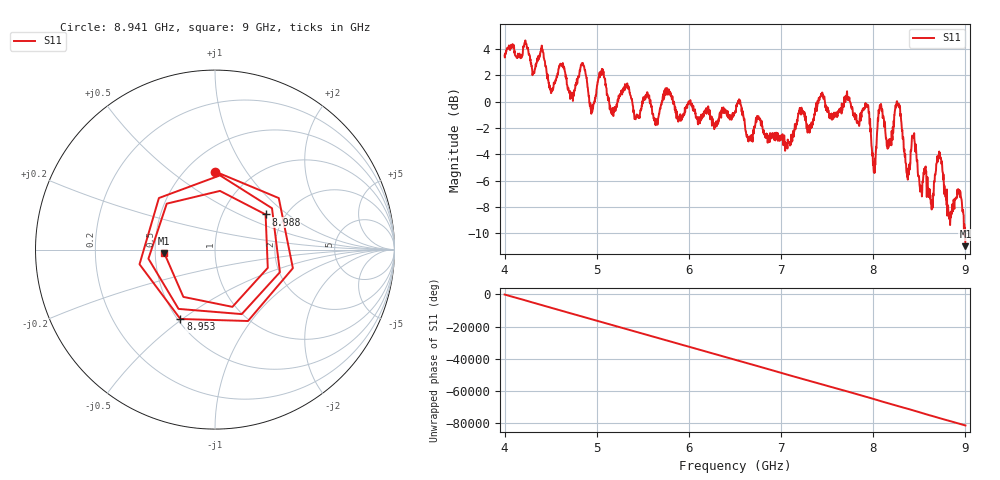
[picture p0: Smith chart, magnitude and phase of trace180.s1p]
! Created with skrf 1.8.0 (http://scikit-rf.org).
# Hz S RI R 50.0
!freq ReS11 ImS11
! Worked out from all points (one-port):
!   1601 points, 4 GHz to 9 GHz, reference 50 ohm
!   lowest |S11| = -11.0 dB at 9 GHz (marker M1), VSWR 1.79, Z = 28 - j1.25 ohm
!   |S11| at or under -10 dB: 8.990507 GHz to 8.991699 GHz (1.192 MHz wide, 0.0133 % of centre); 8.997068 GHz to end of sweep
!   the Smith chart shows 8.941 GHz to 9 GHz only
!   S11 on the Smith chart (normalised r, x): 8.941 GHz: 0.68, +0.73; 8.953 GHz: 0.52, -0.49; 8.988 GHz: 1.59, +0.71; 9 GHz: 0.56, -0.02
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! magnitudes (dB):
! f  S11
! 4 GHz  3.5
! 4.406 GHz  4.1
! 4.506 GHz  0.7
! 4.625 GHz  2.8
! 4.728 GHz  0.3
! 4.853 GHz  2.8
! 4.944 GHz  -0.5
! 5.05 GHz  2.1
! 5.162 GHz  -0.8
! 5.25 GHz  0.4
! 5.875 GHz  -1.2
! 6.5 GHz  -0.8
! 7.125 GHz  -2.5
! 7.75 GHz  0.0
! 7.931 GHz  -0.3
! 8.009 GHz  -5.4
! 8.075 GHz  -0.5
! 8.172 GHz  -3.0
! 8.266 GHz  -0.1
! 8.375 GHz  -5.9
! 8.441 GHz  -2.8
! 8.622 GHz  -7.3
! 8.712 GHz  -4.0
! 8.828 GHz  -8.5
! 8.941 GHz  -7.2
! 8.953 GHz  -7.3
! 8.988 GHz  -9.3
! 9 GHz  -11.0
